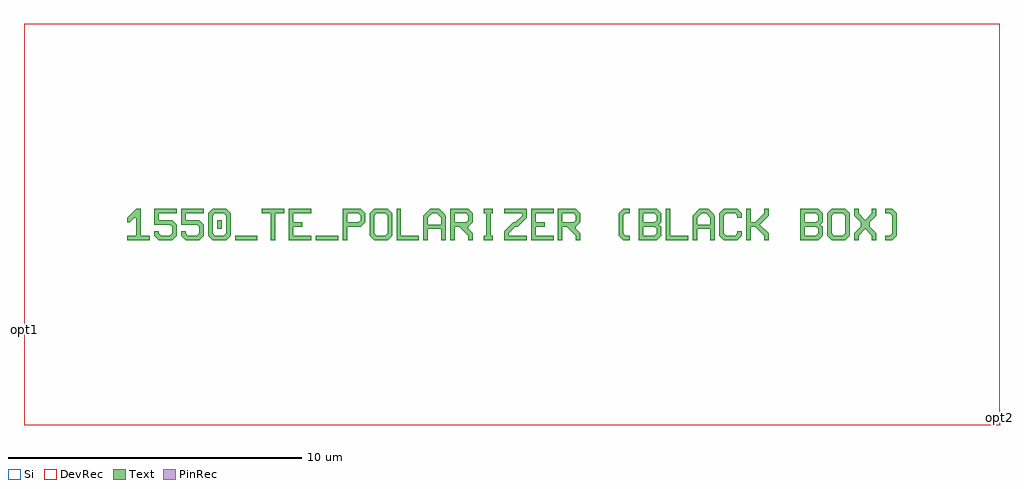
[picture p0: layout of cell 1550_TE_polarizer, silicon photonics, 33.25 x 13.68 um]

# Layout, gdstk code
import gdstk
lib = gdstk.Library(unit=1e-6, precision=1e-09)
def R(c, l, rs):  # rectangles x0, y0, x1, y1
    for r in rs: c.add(gdstk.rectangle(r[:2], r[2:], *l))
def P(c, l, *ps):  # polygons
    for p in ps: c.add(gdstk.Polygon(p, *l))
Si = (1, 0)
PinRec = (1, 10)
Text = (10, 0)
DevRec = (68, 0)

text = lib.new_cell('TEXT')
R(text, Text, [(3.668,0,4.432,0.153), (6.419,0,7.183,0.153), (3.057,0.382,3.209,0.688)])
P(text, Text, [(0,0),(0,0.153),(0.306,0.153),(0.306,0.764),(0.229,0.764),(0.076,0.611),(0,0.611),(0,0.764),(0.306,1.07),(0.458,1.07),(0.458,0.153),(0.764,0.153),(0.764,0)],
  [(1.07,0),(0.917,0.153),(0.917,0.306),(1.07,0.306),(1.07,0.229),(1.146,0.153),(1.452,0.153),(1.528,0.229),(1.528,0.458),(1.452,0.535),(0.917,0.535),(0.917,1.07),(1.681,1.07),(1.681,0.917),(1.07,0.917),(1.07,0.688),(1.528,0.688),(1.681,0.535),(1.681,0.153),(1.528,0)],
  [(1.987,0),(1.834,0.153),(1.834,0.306),(1.987,0.306),(1.987,0.229),(2.063,0.153),(2.369,0.153),(2.445,0.229),(2.445,0.458),(2.369,0.535),(1.834,0.535),(1.834,1.07),(2.598,1.07),(2.598,0.917),(1.987,0.917),(1.987,0.688),(2.445,0.688),(2.598,0.535),(2.598,0.153),(2.445,0)],
  [(2.904,0),(2.751,0.153),(2.751,0.917),(2.904,1.07),(3.362,1.07),(3.515,0.917),(2.98,0.917),(2.904,0.84),(2.904,0.229),(2.98,0.153),(3.286,0.153),(3.362,0.229),(3.362,0.84),(3.286,0.917),(3.515,0.917),(3.515,0.153),(3.362,0)],
  [(4.891,0),(4.891,0.917),(4.585,0.917),(4.585,1.07),(5.349,1.07),(5.349,0.917),(5.043,0.917),(5.043,0)],
  [(5.502,0),(5.502,1.07),(6.266,1.07),(6.266,0.917),(5.655,0.917),(5.655,0.611),(5.96,0.611),(5.96,0.458),(5.655,0.458),(5.655,0.153),(6.266,0.153),(6.266,0)],
  [(7.336,0),(7.336,1.07),(7.947,1.07),(8.1,0.917),(8.1,0.611),(7.947,0.458),(7.489,0.458),(7.489,0.611),(7.871,0.611),(7.947,0.688),(7.947,0.84),(7.871,0.917),(7.489,0.917),(7.489,0)],
  [(8.406,0),(8.253,0.153),(8.253,0.917),(8.406,1.07),(8.864,1.07),(9.017,0.917),(9.017,0.535),(8.864,0.535),(8.864,0.84),(8.788,0.917),(8.482,0.917),(8.406,0.84),(8.406,0.229),(8.482,0.153),(8.788,0.153),(8.864,0.229),(8.864,0.535),(9.017,0.535),(9.017,0.153),(8.864,0)],
  [(9.17,0),(9.17,1.07),(9.323,1.07),(9.323,0.153),(9.934,0.153),(9.934,0)],
  [(10.087,0),(10.087,0.84),(10.316,1.07),(10.622,1.07),(10.775,0.917),(10.393,0.917),(10.24,0.764),(10.24,0.535),(10.698,0.535),(10.698,0.764),(10.545,0.917),(10.775,0.917),(10.851,0.84),(10.851,0),(10.698,0),(10.698,0.382),(10.24,0.382),(10.24,0)],
  [(11.004,0),(11.004,1.07),(11.615,1.07),(11.768,0.917),(11.157,0.917),(11.157,0.611),(11.539,0.611),(11.615,0.688),(11.615,0.84),(11.539,0.917),(11.768,0.917),(11.768,0.611),(11.615,0.458),(11.615,0.382),(11.768,0.229),(11.768,0),(11.615,0),(11.615,0.153),(11.31,0.458),(11.157,0.458),(11.157,0)],
  [(12.15,0),(12.15,0.153),(12.227,0.153),(12.227,0.917),(12.15,0.917),(12.15,1.07),(12.456,1.07),(12.456,0.917),(12.379,0.917),(12.379,0.153),(12.456,0.153),(12.456,0)],
  [(12.838,0),(12.838,0.306),(13.144,0.611),(13.22,0.611),(13.449,0.84),(13.449,0.917),(12.838,0.917),(12.838,1.07),(13.602,1.07),(13.602,0.764),(13.296,0.458),(13.22,0.458),(12.991,0.229),(12.991,0.153),(13.602,0.153),(13.602,0)],
  [(13.755,0),(13.755,1.07),(14.519,1.07),(14.519,0.917),(13.908,0.917),(13.908,0.611),(14.213,0.611),(14.213,0.458),(13.908,0.458),(13.908,0.153),(14.519,0.153),(14.519,0)],
  [(14.672,0),(14.672,1.07),(15.283,1.07),(15.436,0.917),(14.825,0.917),(14.825,0.611),(15.207,0.611),(15.283,0.688),(15.283,0.84),(15.207,0.917),(15.436,0.917),(15.436,0.611),(15.283,0.458),(15.283,0.382),(15.436,0.229),(15.436,0),(15.283,0),(15.283,0.153),(14.978,0.458),(14.825,0.458),(14.825,0)],
  [(16.888,0),(16.735,0.153),(16.735,0.917),(16.888,1.07),(17.117,1.07),(17.117,0.917),(16.964,0.917),(16.888,0.84),(16.888,0.229),(16.964,0.153),(17.117,0.153),(17.117,0)],
  [(17.423,0),(17.423,1.07),(18.034,1.07),(18.187,0.917),(17.576,0.917),(17.576,0.611),(17.958,0.611),(18.034,0.688),(18.034,0.84),(17.958,0.917),(18.187,0.917),(18.187,0.611),(18.111,0.535),(18.187,0.458),(17.576,0.458),(17.576,0.153),(17.958,0.153),(18.034,0.229),(18.034,0.382),(17.958,0.458),(18.187,0.458),(18.187,0.153),(18.034,0)],
  [(18.34,0),(18.34,1.07),(18.493,1.07),(18.493,0.153),(19.104,0.153),(19.104,0)],
  [(19.257,0),(19.257,0.84),(19.486,1.07),(19.792,1.07),(19.945,0.917),(19.563,0.917),(19.41,0.764),(19.41,0.535),(19.868,0.535),(19.868,0.764),(19.715,0.917),(19.945,0.917),(20.021,0.84),(20.021,0),(19.868,0),(19.868,0.382),(19.41,0.382),(19.41,0)],
  [(20.327,0),(20.174,0.153),(20.174,0.917),(20.327,1.07),(20.785,1.07),(20.938,0.917),(20.938,0.764),(20.785,0.764),(20.785,0.84),(20.709,0.917),(20.403,0.917),(20.327,0.84),(20.327,0.229),(20.403,0.153),(20.709,0.153),(20.785,0.229),(20.785,0.306),(20.938,0.306),(20.938,0.153),(20.785,0)],
  [(21.091,0),(21.091,1.07),(21.244,1.07),(21.244,0.611),(21.397,0.611),(21.702,0.917),(21.702,1.07),(21.855,1.07),(21.855,0.84),(21.549,0.535),(21.855,0.229),(21.855,0),(21.702,0),(21.702,0.153),(21.397,0.458),(21.244,0.458),(21.244,0)],
  [(22.925,0),(22.925,1.07),(23.536,1.07),(23.689,0.917),(23.078,0.917),(23.078,0.611),(23.46,0.611),(23.536,0.688),(23.536,0.84),(23.46,0.917),(23.689,0.917),(23.689,0.611),(23.613,0.535),(23.689,0.458),(23.078,0.458),(23.078,0.153),(23.46,0.153),(23.536,0.229),(23.536,0.382),(23.46,0.458),(23.689,0.458),(23.689,0.153),(23.536,0)],
  [(23.995,0),(23.842,0.153),(23.842,0.917),(23.995,1.07),(24.453,1.07),(24.606,0.917),(24.606,0.535),(24.453,0.535),(24.453,0.84),(24.377,0.917),(24.071,0.917),(23.995,0.84),(23.995,0.229),(24.071,0.153),(24.377,0.153),(24.453,0.229),(24.453,0.535),(24.606,0.535),(24.606,0.153),(24.453,0)],
  [(24.759,0),(24.759,0.229),(24.988,0.458),(24.988,0.611),(24.759,0.84),(24.759,1.07),(24.912,1.07),(24.912,0.917),(25.141,0.688),(25.37,0.917),(25.37,1.07),(25.523,1.07),(25.523,0.84),(25.294,0.611),(25.294,0.458),(25.523,0.229),(25.523,0),(25.37,0),(25.37,0.153),(25.141,0.382),(24.912,0.153),(24.912,0)],
  [(25.829,0),(25.829,0.153),(25.982,0.153),(26.058,0.229),(26.058,0.84),(25.982,0.917),(25.829,0.917),(25.829,1.07),(26.058,1.07),(26.211,0.917),(26.211,0.153),(26.058,0)])

c_1550_te_polarizer = lib.new_cell('1550_TE_polarizer')
R(c_1550_te_polarizer, Si, [(-10,-3.248,23.234,10.434)])
R(c_1550_te_polarizer, DevRec, [(-10,-3.248,23.234,10.434)])
c_1550_te_polarizer.add(gdstk.FlexPath([(-9.99,0),(-10.01,0)], 0.5, ends="flush", simple_path=True, layer=1, datatype=10))  # PinRec
c_1550_te_polarizer.add(gdstk.FlexPath([(23.224,-2.998),(23.244,-2.998)], 0.5, ends="flush", simple_path=True, layer=1, datatype=10))  # PinRec
c_1550_te_polarizer.add(gdstk.Reference(text, (-6.488,3.058)))
c_1550_te_polarizer.add(gdstk.Label('opt1', (-10,0), layer=1, texttype=10))
c_1550_te_polarizer.add(gdstk.Label('opt2', (23.234,-2.998), layer=1, texttype=10))

lib.write_gds('1550_TE_polarizer.gds')
